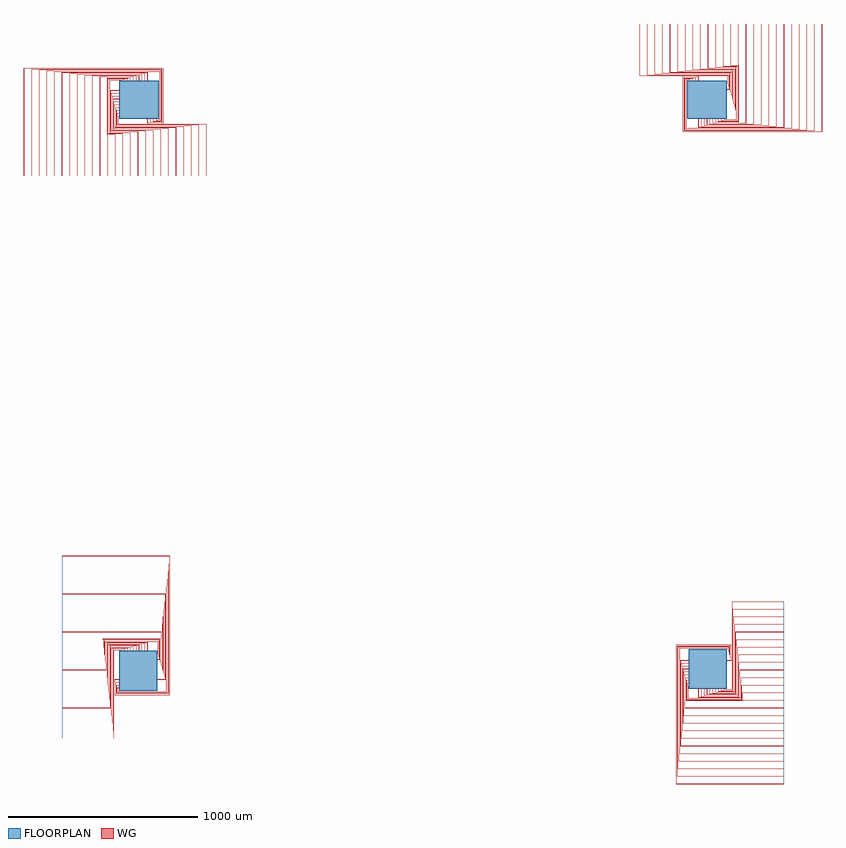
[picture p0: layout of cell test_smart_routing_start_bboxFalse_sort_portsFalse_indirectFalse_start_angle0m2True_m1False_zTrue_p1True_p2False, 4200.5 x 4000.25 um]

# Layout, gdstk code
import gdstk
lib = gdstk.Library(unit=1e-6, precision=1e-09)
def R(c, l, rs):  # rectangles x0, y0, x1, y1
    for r in rs: c.add(gdstk.rectangle(r[:2], r[2:], *l))
def P(c, l, *ps):  # polygons
    for p in ps: c.add(gdstk.Polygon(p, *l))
WG = (1, 0)
FLOORPLAN = (10, 0)

test_smart_routing_start = lib.new_cell('test_smart_routing_start_bboxFalse_sort_portsFalse_indirectFalse_start_angle0m2True_m1False_zTrue_p1True_p2False')
P(test_smart_routing_start, WG, [(2867.55,2832.8),(2867.55,3122.2),(2949.95,3122.2),(2949.95,3100),(2949.75,3100),(2949.75,3122),(2867.75,3122),(2867.75,2833),(3599.75,2833),(3599.75,3400),(3599.95,3400),(3599.95,2832.8)],
  [(2867.25,2832.5),(2867.25,3122.5),(2950.25,3122.5),(2950.25,3100),(2950.05,3100),(2950.05,3122.3),(2867.45,3122.3),(2867.45,2832.7),(3600.05,2832.7),(3600.05,3400),(3600.25,3400),(3600.25,2832.5)],
  [(2872.05,2837.3),(2872.05,3117.7),(2934.95,3117.7),(2934.95,3100),(2934.75,3100),(2934.75,3117.5),(2872.25,3117.5),(2872.25,2837.5),(3559.75,2837.5),(3559.75,3400),(3559.95,3400),(3559.95,2837.3)],
  [(2871.75,2837),(2871.75,3118),(2935.25,3118),(2935.25,3100),(2935.05,3100),(2935.05,3117.8),(2871.95,3117.8),(2871.95,2837.2),(3560.05,2837.2),(3560.05,3400),(3560.25,3400),(3560.25,2837)],
  [(2876.55,2841.8),(2876.55,3113.2),(2919.95,3113.2),(2919.95,3100),(2919.75,3100),(2919.75,3113),(2876.75,3113),(2876.75,2842),(3519.75,2842),(3519.75,3400),(3519.95,3400),(3519.95,2841.8)],
  [(2876.25,2841.5),(2876.25,3113.5),(2920.25,3113.5),(2920.25,3100),(2920.05,3100),(2920.05,3113.3),(2876.45,3113.3),(2876.45,2841.7),(3520.05,2841.7),(3520.05,3400),(3520.25,3400),(3520.25,2841.5)],
  [(2881.05,2846.3),(2881.05,3108.7),(2904.95,3108.7),(2904.95,3100),(2904.75,3100),(2904.75,3108.5),(2881.25,3108.5),(2881.25,2846.5),(3479.75,2846.5),(3479.75,3400),(3479.95,3400),(3479.95,2846.3)],
  [(2880.75,2846),(2880.75,3109),(2905.25,3109),(2905.25,3100),(2905.05,3100),(2905.05,3108.8),(2880.95,3108.8),(2880.95,2846.2),(3480.05,2846.2),(3480.05,3400),(3480.25,3400),(3480.25,2846)],
  [(2885.55,2850.8),(2885.55,3104.2),(2889.95,3104.2),(2889.95,3100),(2889.75,3100),(2889.75,3104),(2885.75,3104),(2885.75,2851),(3439.75,2851),(3439.75,3400),(3439.95,3400),(3439.95,2850.8)],
  [(2885.25,2850.5),(2885.25,3104.5),(2890.25,3104.5),(2890.25,3100),(2890.05,3100),(2890.05,3104.3),(2885.45,3104.3),(2885.45,2850.7),(3440.05,2850.7),(3440.05,3400),(3440.25,3400),(3440.25,2850.5)],
  [(2950.05,2855.3),(2950.05,2900),(2950.25,2900),(2950.25,2855.5),(3399.75,2855.5),(3399.75,3400),(3399.95,3400),(3399.95,2855.3)],
  [(2949.75,2855),(2949.75,2900),(2949.95,2900),(2949.95,2855.2),(3400.05,2855.2),(3400.05,3400),(3400.25,3400),(3400.25,2855)],
  [(2965.05,2859.8),(2965.05,2900),(2965.25,2900),(2965.25,2860),(3359.75,2860),(3359.75,3400),(3359.95,3400),(3359.95,2859.8)],
  [(2964.75,2859.5),(2964.75,2900),(2964.95,2900),(2964.95,2859.7),(3360.05,2859.7),(3360.05,3400),(3360.25,3400),(3360.25,2859.5)],
  [(2980.05,2864.3),(2980.05,2900),(2980.25,2900),(2980.25,2864.5),(3319.75,2864.5),(3319.75,3400),(3319.95,3400),(3319.95,2864.3)],
  [(2979.75,2864),(2979.75,2900),(2979.95,2900),(2979.95,2864.2),(3320.05,2864.2),(3320.05,3400),(3320.25,3400),(3320.25,2864)],
  [(2995.05,2868.8),(2995.05,2900),(2995.25,2900),(2995.25,2869),(3279.75,2869),(3279.75,3400),(3279.95,3400),(3279.95,2868.8)],
  [(2994.75,2868.5),(2994.75,2900),(2994.95,2900),(2994.95,2868.7),(3280.05,2868.7),(3280.05,3400),(3280.25,3400),(3280.25,2868.5)],
  [(3010.05,2873.3),(3010.05,2900),(3010.25,2900),(3010.25,2873.5),(3239.75,2873.5),(3239.75,3400),(3239.95,3400),(3239.95,2873.3)],
  [(3009.75,2873),(3009.75,2900),(3009.95,2900),(3009.95,2873.2),(3240.05,2873.2),(3240.05,3400),(3240.25,3400),(3240.25,2873)],
  [(3025.05,2877.8),(3025.05,2900),(3025.25,2900),(3025.25,2878),(3199.75,2878),(3199.75,3400),(3199.95,3400),(3199.95,2877.8)],
  [(3024.75,2877.5),(3024.75,2900),(3024.95,2900),(3024.95,2877.7),(3200.05,2877.7),(3200.05,3400),(3200.25,3400),(3200.25,2877.5)],
  [(3040.05,2882.3),(3040.05,2900),(3040.25,2900),(3040.25,2882.5),(3162.5,2882.5),(3162.5,3185),(3159.75,3185),(3159.75,3400),(3159.95,3400),(3159.95,3185.2),(3162.7,3185.2),(3162.7,2882.3)],
  [(3039.75,2882),(3039.75,2900),(3039.95,2900),(3039.95,2882.2),(3162.8,2882.2),(3162.8,3185.3),(3160.05,3185.3),(3160.05,3400),(3160.25,3400),(3160.25,3185.5),(3163,3185.5),(3163,2882)],
  [(3055.05,2886.8),(3055.05,2900),(3055.25,2900),(3055.25,2887),(3158,2887),(3158,3180.5),(3119.75,3180.5),(3119.75,3400),(3119.95,3400),(3119.95,3180.7),(3158.2,3180.7),(3158.2,2886.8)],
  [(3054.75,2886.5),(3054.75,2900),(3054.95,2900),(3054.95,2886.7),(3158.3,2886.7),(3158.3,3180.8),(3120.05,3180.8),(3120.05,3400),(3120.25,3400),(3120.25,3181),(3158.5,3181),(3158.5,2886.5)],
  [(3070.05,2891.3),(3070.05,2900),(3070.25,2900),(3070.25,2891.5),(3153.5,2891.5),(3153.5,3176),(3079.75,3176),(3079.75,3400),(3079.95,3400),(3079.95,3176.2),(3153.7,3176.2),(3153.7,2891.3)],
  [(3069.75,2891),(3069.75,2900),(3069.95,2900),(3069.95,2891.2),(3153.8,2891.2),(3153.8,3176.3),(3080.05,3176.3),(3080.05,3400),(3080.25,3400),(3080.25,3176.5),(3154,3176.5),(3154,2891)],
  [(3085.05,2895.8),(3085.05,2900),(3085.25,2900),(3085.25,2896),(3149,2896),(3149,3171.5),(3039.75,3171.5),(3039.75,3400),(3039.95,3400),(3039.95,3171.7),(3149.2,3171.7),(3149.2,2895.8)],
  [(3084.75,2895.5),(3084.75,2900),(3084.95,2900),(3084.95,2895.7),(3149.3,2895.7),(3149.3,3171.8),(3040.05,3171.8),(3040.05,3400),(3040.25,3400),(3040.25,3172),(3149.5,3172),(3149.5,2895.5)],
  [(3100,2950.05),(3100,2950.25),(3144.5,2950.25),(3144.5,3167),(2999.75,3167),(2999.75,3400),(2999.95,3400),(2999.95,3167.2),(3144.7,3167.2),(3144.7,2950.05)],
  [(3100,2949.75),(3100,2949.95),(3144.8,2949.95),(3144.8,3167.3),(3000.05,3167.3),(3000.05,3400),(3000.25,3400),(3000.25,3167.5),(3145,3167.5),(3145,2949.75)],
  [(3100,2965.05),(3100,2965.25),(3140,2965.25),(3140,3162.5),(2959.75,3162.5),(2959.75,3400),(2959.95,3400),(2959.95,3162.7),(3140.2,3162.7),(3140.2,2965.05)],
  [(3100,2964.75),(3100,2964.95),(3140.3,2964.95),(3140.3,3162.8),(2960.05,3162.8),(2960.05,3400),(2960.25,3400),(2960.25,3163),(3140.5,3163),(3140.5,2964.75)],
  [(3100,2980.05),(3100,2980.25),(3135.5,2980.25),(3135.5,3158),(2919.75,3158),(2919.75,3400),(2919.95,3400),(2919.95,3158.2),(3135.7,3158.2),(3135.7,2980.05)],
  [(3100,2979.75),(3100,2979.95),(3135.8,2979.95),(3135.8,3158.3),(2920.05,3158.3),(2920.05,3400),(2920.25,3400),(2920.25,3158.5),(3136,3158.5),(3136,2979.75)],
  [(3100,2995.05),(3100,2995.25),(3131,2995.25),(3131,3153.5),(2879.75,3153.5),(2879.75,3400),(2879.95,3400),(2879.95,3153.7),(3131.2,3153.7),(3131.2,2995.05)],
  [(3100,2994.75),(3100,2994.95),(3131.3,2994.95),(3131.3,3153.8),(2880.05,3153.8),(2880.05,3400),(2880.25,3400),(2880.25,3154),(3131.5,3154),(3131.5,2994.75)],
  [(3100,3010.05),(3100,3010.25),(3126.5,3010.25),(3126.5,3149),(2839.75,3149),(2839.75,3400),(2839.95,3400),(2839.95,3149.2),(3126.7,3149.2),(3126.7,3010.05)],
  [(3100,3009.75),(3100,3009.95),(3126.8,3009.95),(3126.8,3149.3),(2840.05,3149.3),(2840.05,3400),(2840.25,3400),(2840.25,3149.5),(3127,3149.5),(3127,3009.75)],
  [(3100,3025.05),(3100,3025.25),(3122,3025.25),(3122,3144.5),(2799.75,3144.5),(2799.75,3400),(2799.95,3400),(2799.95,3144.7),(3122.2,3144.7),(3122.2,3025.05)],
  [(3100,3024.75),(3100,3024.95),(3122.3,3024.95),(3122.3,3144.8),(2800.05,3144.8),(2800.05,3400),(2800.25,3400),(2800.25,3145),(3122.5,3145),(3122.5,3024.75)],
  [(3100,3040.05),(3100,3040.25),(3117.5,3040.25),(3117.5,3140),(2759.75,3140),(2759.75,3400),(2759.95,3400),(2759.95,3140.2),(3117.7,3140.2),(3117.7,3040.05)],
  [(3100,3039.75),(3100,3039.95),(3117.8,3039.95),(3117.8,3140.3),(2760.05,3140.3),(2760.05,3400),(2760.25,3400),(2760.25,3140.5),(3118,3140.5),(3118,3039.75)],
  [(3100,3055.05),(3100,3055.25),(3113,3055.25),(3113,3135.5),(2719.75,3135.5),(2719.75,3400),(2719.95,3400),(2719.95,3135.7),(3113.2,3135.7),(3113.2,3055.05)],
  [(3100,3054.75),(3100,3054.95),(3113.3,3054.95),(3113.3,3135.8),(2720.05,3135.8),(2720.05,3400),(2720.25,3400),(2720.25,3136),(3113.5,3136),(3113.5,3054.75)],
  [(3100,3070.05),(3100,3070.25),(3108.5,3070.25),(3108.5,3131),(2679.75,3131),(2679.75,3400),(2679.95,3400),(2679.95,3131.2),(3108.7,3131.2),(3108.7,3070.05)],
  [(3100,3069.75),(3100,3069.95),(3108.8,3069.95),(3108.8,3131.3),(2680.05,3131.3),(2680.05,3400),(2680.25,3400),(2680.25,3131.5),(3109,3131.5),(3109,3069.75)],
  [(3100,3085.05),(3100,3085.25),(3104,3085.25),(3104,3126.5),(2639.75,3126.5),(2639.75,3400),(2639.95,3400),(2639.95,3126.7),(3104.2,3126.7),(3104.2,3085.05)],
  [(3100,3084.75),(3100,3084.95),(3104.3,3084.95),(3104.3,3126.8),(2640.05,3126.8),(2640.05,3400),(2640.25,3400),(2640.25,3127),(3104.5,3127),(3104.5,3084.75)],
  [(-599.95,2600),(-599.95,3167.2),(132.45,3167.2),(132.45,2877.8),(50.05,2877.8),(50.05,2900),(50.25,2900),(50.25,2878),(132.25,2878),(132.25,3167),(-599.75,3167),(-599.75,2600)],
  [(-600.25,2600),(-600.25,3167.5),(132.75,3167.5),(132.75,2877.5),(49.75,2877.5),(49.75,2900),(49.95,2900),(49.95,2877.7),(132.55,2877.7),(132.55,3167.3),(-600.05,3167.3),(-600.05,2600)],
  [(-559.95,2600),(-559.95,3162.7),(127.95,3162.7),(127.95,2882.3),(65.05,2882.3),(65.05,2900),(65.25,2900),(65.25,2882.5),(127.75,2882.5),(127.75,3162.5),(-559.75,3162.5),(-559.75,2600)],
  [(-560.25,2600),(-560.25,3163),(128.25,3163),(128.25,2882),(64.75,2882),(64.75,2900),(64.95,2900),(64.95,2882.2),(128.05,2882.2),(128.05,3162.8),(-560.05,3162.8),(-560.05,2600)],
  [(-519.95,2600),(-519.95,3158.2),(123.45,3158.2),(123.45,2886.8),(80.05,2886.8),(80.05,2900),(80.25,2900),(80.25,2887),(123.25,2887),(123.25,3158),(-519.75,3158),(-519.75,2600)],
  [(-520.25,2600),(-520.25,3158.5),(123.75,3158.5),(123.75,2886.5),(79.75,2886.5),(79.75,2900),(79.95,2900),(79.95,2886.7),(123.55,2886.7),(123.55,3158.3),(-520.05,3158.3),(-520.05,2600)],
  [(-479.95,2600),(-479.95,3153.7),(118.95,3153.7),(118.95,2891.3),(95.05,2891.3),(95.05,2900),(95.25,2900),(95.25,2891.5),(118.75,2891.5),(118.75,3153.5),(-479.75,3153.5),(-479.75,2600)],
  [(-480.25,2600),(-480.25,3154),(119.25,3154),(119.25,2891),(94.75,2891),(94.75,2900),(94.95,2900),(94.95,2891.2),(119.05,2891.2),(119.05,3153.8),(-480.05,3153.8),(-480.05,2600)],
  [(-439.95,2600),(-439.95,3149.2),(114.45,3149.2),(114.45,2895.8),(110.05,2895.8),(110.05,2900),(110.25,2900),(110.25,2896),(114.25,2896),(114.25,3149),(-439.75,3149),(-439.75,2600)],
  [(-440.25,2600),(-440.25,3149.5),(114.75,3149.5),(114.75,2895.5),(109.75,2895.5),(109.75,2900),(109.95,2900),(109.95,2895.7),(114.55,2895.7),(114.55,3149.3),(-440.05,3149.3),(-440.05,2600)],
  [(-399.95,2600),(-399.95,3144.7),(49.95,3144.7),(49.95,3100),(49.75,3100),(49.75,3144.5),(-399.75,3144.5),(-399.75,2600)],
  [(-400.25,2600),(-400.25,3145),(50.25,3145),(50.25,3100),(50.05,3100),(50.05,3144.8),(-400.05,3144.8),(-400.05,2600)],
  [(-359.95,2600),(-359.95,3140.2),(34.95,3140.2),(34.95,3100),(34.75,3100),(34.75,3140),(-359.75,3140),(-359.75,2600)],
  [(-360.25,2600),(-360.25,3140.5),(35.25,3140.5),(35.25,3100),(35.05,3100),(35.05,3140.3),(-360.05,3140.3),(-360.05,2600)],
  [(-319.95,2600),(-319.95,3135.7),(19.95,3135.7),(19.95,3100),(19.75,3100),(19.75,3135.5),(-319.75,3135.5),(-319.75,2600)],
  [(-320.25,2600),(-320.25,3136),(20.25,3136),(20.25,3100),(20.05,3100),(20.05,3135.8),(-320.05,3135.8),(-320.05,2600)],
  [(-279.95,2600),(-279.95,3131.2),(4.95,3131.2),(4.95,3100),(4.75,3100),(4.75,3131),(-279.75,3131),(-279.75,2600)],
  [(-280.25,2600),(-280.25,3131.5),(5.25,3131.5),(5.25,3100),(5.05,3100),(5.05,3131.3),(-280.05,3131.3),(-280.05,2600)],
  [(-239.95,2600),(-239.95,3126.7),(-10.05,3126.7),(-10.05,3100),(-10.25,3100),(-10.25,3126.5),(-239.75,3126.5),(-239.75,2600)],
  [(-240.25,2600),(-240.25,3127),(-9.75,3127),(-9.75,3100),(-9.95,3100),(-9.95,3126.8),(-240.05,3126.8),(-240.05,2600)],
  [(-199.95,2600),(-199.95,3122.2),(-25.05,3122.2),(-25.05,3100),(-25.25,3100),(-25.25,3122),(-199.75,3122),(-199.75,2600)],
  [(-200.25,2600),(-200.25,3122.5),(-24.75,3122.5),(-24.75,3100),(-24.95,3100),(-24.95,3122.3),(-200.05,3122.3),(-200.05,2600)],
  [(-159.95,2600),(-159.95,2814.8),(-162.7,2814.8),(-162.7,3117.7),(-40.05,3117.7),(-40.05,3100),(-40.25,3100),(-40.25,3117.5),(-162.5,3117.5),(-162.5,2815),(-159.75,2815),(-159.75,2600)],
  [(-160.25,2600),(-160.25,2814.5),(-163,2814.5),(-163,3118),(-39.75,3118),(-39.75,3100),(-39.95,3100),(-39.95,3117.8),(-162.8,3117.8),(-162.8,2814.7),(-160.05,2814.7),(-160.05,2600)],
  [(-119.95,2600),(-119.95,2819.3),(-158.2,2819.3),(-158.2,3113.2),(-55.05,3113.2),(-55.05,3100),(-55.25,3100),(-55.25,3113),(-158,3113),(-158,2819.5),(-119.75,2819.5),(-119.75,2600)],
  [(-120.25,2600),(-120.25,2819),(-158.5,2819),(-158.5,3113.5),(-54.75,3113.5),(-54.75,3100),(-54.95,3100),(-54.95,3113.3),(-158.3,3113.3),(-158.3,2819.2),(-120.05,2819.2),(-120.05,2600)],
  [(-79.95,2600),(-79.95,2823.8),(-153.7,2823.8),(-153.7,3108.7),(-70.05,3108.7),(-70.05,3100),(-70.25,3100),(-70.25,3108.5),(-153.5,3108.5),(-153.5,2824),(-79.75,2824),(-79.75,2600)],
  [(-80.25,2600),(-80.25,2823.5),(-154,2823.5),(-154,3109),(-69.75,3109),(-69.75,3100),(-69.95,3100),(-69.95,3108.8),(-153.8,3108.8),(-153.8,2823.7),(-80.05,2823.7),(-80.05,2600)],
  [(-39.95,2600),(-39.95,2828.3),(-149.2,2828.3),(-149.2,3104.2),(-85.05,3104.2),(-85.05,3100),(-85.25,3100),(-85.25,3104),(-149,3104),(-149,2828.5),(-39.75,2828.5),(-39.75,2600)],
  [(-40.25,2600),(-40.25,2828),(-149.5,2828),(-149.5,3104.5),(-84.75,3104.5),(-84.75,3100),(-84.95,3100),(-84.95,3104.3),(-149.3,3104.3),(-149.3,2828.2),(-40.05,2828.2),(-40.05,2600)],
  [(0.05,2600),(0.05,2832.8),(-144.7,2832.8),(-144.7,3049.95),(-100,3049.95),(-100,3049.75),(-144.5,3049.75),(-144.5,2833),(0.25,2833),(0.25,2600)],
  [(-0.25,2600),(-0.25,2832.5),(-145,2832.5),(-145,3050.25),(-100,3050.25),(-100,3050.05),(-144.8,3050.05),(-144.8,2832.7),(-0.05,2832.7),(-0.05,2600)],
  [(40.05,2600),(40.05,2837.3),(-140.2,2837.3),(-140.2,3034.95),(-100,3034.95),(-100,3034.75),(-140,3034.75),(-140,2837.5),(40.25,2837.5),(40.25,2600)],
  [(39.75,2600),(39.75,2837),(-140.5,2837),(-140.5,3035.25),(-100,3035.25),(-100,3035.05),(-140.3,3035.05),(-140.3,2837.2),(39.95,2837.2),(39.95,2600)],
  [(80.05,2600),(80.05,2841.8),(-135.7,2841.8),(-135.7,3019.95),(-100,3019.95),(-100,3019.75),(-135.5,3019.75),(-135.5,2842),(80.25,2842),(80.25,2600)],
  [(79.75,2600),(79.75,2841.5),(-136,2841.5),(-136,3020.25),(-100,3020.25),(-100,3020.05),(-135.8,3020.05),(-135.8,2841.7),(79.95,2841.7),(79.95,2600)],
  [(120.05,2600),(120.05,2846.3),(-131.2,2846.3),(-131.2,3004.95),(-100,3004.95),(-100,3004.75),(-131,3004.75),(-131,2846.5),(120.25,2846.5),(120.25,2600)],
  [(119.75,2600),(119.75,2846),(-131.5,2846),(-131.5,3005.25),(-100,3005.25),(-100,3005.05),(-131.3,3005.05),(-131.3,2846.2),(119.95,2846.2),(119.95,2600)],
  [(160.05,2600),(160.05,2850.8),(-126.7,2850.8),(-126.7,2989.95),(-100,2989.95),(-100,2989.75),(-126.5,2989.75),(-126.5,2851),(160.25,2851),(160.25,2600)],
  [(159.75,2600),(159.75,2850.5),(-127,2850.5),(-127,2990.25),(-100,2990.25),(-100,2990.05),(-126.8,2990.05),(-126.8,2850.7),(159.95,2850.7),(159.95,2600)],
  [(200.05,2600),(200.05,2855.3),(-122.2,2855.3),(-122.2,2974.95),(-100,2974.95),(-100,2974.75),(-122,2974.75),(-122,2855.5),(200.25,2855.5),(200.25,2600)],
  [(199.75,2600),(199.75,2855),(-122.5,2855),(-122.5,2975.25),(-100,2975.25),(-100,2975.05),(-122.3,2975.05),(-122.3,2855.2),(199.95,2855.2),(199.95,2600)],
  [(240.05,2600),(240.05,2859.8),(-117.7,2859.8),(-117.7,2959.95),(-100,2959.95),(-100,2959.75),(-117.5,2959.75),(-117.5,2860),(240.25,2860),(240.25,2600)],
  [(239.75,2600),(239.75,2859.5),(-118,2859.5),(-118,2960.25),(-100,2960.25),(-100,2960.05),(-117.8,2960.05),(-117.8,2859.7),(239.95,2859.7),(239.95,2600)],
  [(280.05,2600),(280.05,2864.3),(-113.2,2864.3),(-113.2,2944.95),(-100,2944.95),(-100,2944.75),(-113,2944.75),(-113,2864.5),(280.25,2864.5),(280.25,2600)],
  [(279.75,2600),(279.75,2864),(-113.5,2864),(-113.5,2945.25),(-100,2945.25),(-100,2945.05),(-113.3,2945.05),(-113.3,2864.2),(279.95,2864.2),(279.95,2600)],
  [(320.05,2600),(320.05,2868.8),(-108.7,2868.8),(-108.7,2929.95),(-100,2929.95),(-100,2929.75),(-108.5,2929.75),(-108.5,2869),(320.25,2869),(320.25,2600)],
  [(319.75,2600),(319.75,2868.5),(-109,2868.5),(-109,2930.25),(-100,2930.25),(-100,2930.05),(-108.8,2930.05),(-108.8,2868.7),(319.95,2868.7),(319.95,2600)],
  [(360.05,2600),(360.05,2873.3),(-104.2,2873.3),(-104.2,2914.95),(-100,2914.95),(-100,2914.75),(-104,2914.75),(-104,2873.5),(360.25,2873.5),(360.25,2600)],
  [(359.75,2600),(359.75,2873),(-104.5,2873),(-104.5,2915.25),(-100,2915.25),(-100,2915.05),(-104.3,2915.05),(-104.3,2873.2),(359.95,2873.2),(359.95,2600)],
  [(-122.2,-132.45),(-122.2,-50.05),(-100,-50.05),(-100,-50.25),(-122,-50.25),(-122,-132.25),(167,-132.25),(167,599.75),(-400,599.75),(-400,599.95),(167.2,599.95),(167.2,-132.45)],
  [(-122.5,-132.75),(-122.5,-49.75),(-100,-49.75),(-100,-49.95),(-122.3,-49.95),(-122.3,-132.55),(167.3,-132.55),(167.3,600.05),(-400,600.05),(-400,600.25),(167.5,600.25),(167.5,-132.75)],
  [(-117.7,-127.95),(-117.7,-65.05),(-100,-65.05),(-100,-65.25),(-117.5,-65.25),(-117.5,-127.75),(162.5,-127.75),(162.5,559.75),(-400,559.75),(-400,559.95),(162.7,559.95),(162.7,-127.95)],
  [(-118,-128.25),(-118,-64.75),(-100,-64.75),(-100,-64.95),(-117.8,-64.95),(-117.8,-128.05),(162.8,-128.05),(162.8,560.05),(-400,560.05),(-400,560.25),(163,560.25),(163,-128.25)],
  [(-113.2,-123.45),(-113.2,-80.05),(-100,-80.05),(-100,-80.25),(-113,-80.25),(-113,-123.25),(158,-123.25),(158,519.75),(-400,519.75),(-400,519.95),(158.2,519.95),(158.2,-123.45)],
  [(-113.5,-123.75),(-113.5,-79.75),(-100,-79.75),(-100,-79.95),(-113.3,-79.95),(-113.3,-123.55),(158.3,-123.55),(158.3,520.05),(-400,520.05),(-400,520.25),(158.5,520.25),(158.5,-123.75)],
  [(-108.7,-118.95),(-108.7,-95.05),(-100,-95.05),(-100,-95.25),(-108.5,-95.25),(-108.5,-118.75),(153.5,-118.75),(153.5,479.75),(-400,479.75),(-400,479.95),(153.7,479.95),(153.7,-118.95)],
  [(-109,-119.25),(-109,-94.75),(-100,-94.75),(-100,-94.95),(-108.8,-94.95),(-108.8,-119.05),(153.8,-119.05),(153.8,480.05),(-400,480.05),(-400,480.25),(154,480.25),(154,-119.25)],
  [(-104.2,-114.45),(-104.2,-110.05),(-100,-110.05),(-100,-110.25),(-104,-110.25),(-104,-114.25),(149,-114.25),(149,439.75),(-400,439.75),(-400,439.95),(149.2,439.95),(149.2,-114.45)],
  [(-104.5,-114.75),(-104.5,-109.75),(-100,-109.75),(-100,-109.95),(-104.3,-109.95),(-104.3,-114.55),(149.3,-114.55),(149.3,440.05),(-400,440.05),(-400,440.25),(149.5,440.25),(149.5,-114.75)],
  [(100,-49.95),(100,-49.75),(144.5,-49.75),(144.5,399.75),(-400,399.75),(-400,399.95),(144.7,399.95),(144.7,-49.95)],
  [(100,-50.25),(100,-50.05),(144.8,-50.05),(144.8,400.05),(-400,400.05),(-400,400.25),(145,400.25),(145,-50.25)],
  [(100,-34.95),(100,-34.75),(140,-34.75),(140,359.75),(-400,359.75),(-400,359.95),(140.2,359.95),(140.2,-34.95)],
  [(100,-35.25),(100,-35.05),(140.3,-35.05),(140.3,360.05),(-400,360.05),(-400,360.25),(140.5,360.25),(140.5,-35.25)],
  [(100,-19.95),(100,-19.75),(135.5,-19.75),(135.5,319.75),(-400,319.75),(-400,319.95),(135.7,319.95),(135.7,-19.95)],
  [(100,-20.25),(100,-20.05),(135.8,-20.05),(135.8,320.05),(-400,320.05),(-400,320.25),(136,320.25),(136,-20.25)],
  [(100,-4.95),(100,-4.75),(131,-4.75),(131,279.75),(-400,279.75),(-400,279.95),(131.2,279.95),(131.2,-4.95)],
  [(100,-5.25),(100,-5.05),(131.3,-5.05),(131.3,280.05),(-400,280.05),(-400,280.25),(131.5,280.25),(131.5,-5.25)],
  [(100,10.05),(100,10.25),(126.5,10.25),(126.5,239.75),(-400,239.75),(-400,239.95),(126.7,239.95),(126.7,10.05)],
  [(100,9.75),(100,9.95),(126.8,9.95),(126.8,240.05),(-400,240.05),(-400,240.25),(127,240.25),(127,9.75)],
  [(100,25.05),(100,25.25),(122,25.25),(122,199.75),(-400,199.75),(-400,199.95),(122.2,199.95),(122.2,25.05)],
  [(100,24.75),(100,24.95),(122.3,24.95),(122.3,200.05),(-400,200.05),(-400,200.25),(122.5,200.25),(122.5,24.75)],
  [(100,40.05),(100,40.25),(117.5,40.25),(117.5,162.5),(-185,162.5),(-185,159.75),(-400,159.75),(-400,159.95),(-185.2,159.95),(-185.2,162.7),(117.7,162.7),(117.7,40.05)],
  [(100,39.75),(100,39.95),(117.8,39.95),(117.8,162.8),(-185.3,162.8),(-185.3,160.05),(-400,160.05),(-400,160.25),(-185.5,160.25),(-185.5,163),(118,163),(118,39.75)],
  [(100,55.05),(100,55.25),(113,55.25),(113,158),(-180.5,158),(-180.5,119.75),(-400,119.75),(-400,119.95),(-180.7,119.95),(-180.7,158.2),(113.2,158.2),(113.2,55.05)],
  [(100,54.75),(100,54.95),(113.3,54.95),(113.3,158.3),(-180.8,158.3),(-180.8,120.05),(-400,120.05),(-400,120.25),(-181,120.25),(-181,158.5),(113.5,158.5),(113.5,54.75)],
  [(100,70.05),(100,70.25),(108.5,70.25),(108.5,153.5),(-176,153.5),(-176,79.75),(-400,79.75),(-400,79.95),(-176.2,79.95),(-176.2,153.7),(108.7,153.7),(108.7,70.05)],
  [(100,69.75),(100,69.95),(108.8,69.95),(108.8,153.8),(-176.3,153.8),(-176.3,80.05),(-400,80.05),(-400,80.25),(-176.5,80.25),(-176.5,154),(109,154),(109,69.75)],
  [(-400,39.75),(-400,39.95),(-171.7,39.95),(-171.7,149.2),(104.2,149.2),(104.2,85.05),(100,85.05),(100,85.25),(104,85.25),(104,149),(-171.5,149),(-171.5,39.75)],
  [(-400,40.05),(-400,40.25),(-172,40.25),(-172,149.5),(104.5,149.5),(104.5,84.75),(100,84.75),(100,84.95),(104.3,84.95),(104.3,149.3),(-171.8,149.3),(-171.8,40.05)],
  [(-400,-0.25),(-400,-0.05),(-167.2,-0.05),(-167.2,144.7),(49.95,144.7),(49.95,100),(49.75,100),(49.75,144.5),(-167,144.5),(-167,-0.25)],
  [(-400,0.05),(-400,0.25),(-167.5,0.25),(-167.5,145),(50.25,145),(50.25,100),(50.05,100),(50.05,144.8),(-167.3,144.8),(-167.3,0.05)],
  [(-400,-40.25),(-400,-40.05),(-162.7,-40.05),(-162.7,140.2),(34.95,140.2),(34.95,100),(34.75,100),(34.75,140),(-162.5,140),(-162.5,-40.25)],
  [(-400,-39.95),(-400,-39.75),(-163,-39.75),(-163,140.5),(35.25,140.5),(35.25,100),(35.05,100),(35.05,140.3),(-162.8,140.3),(-162.8,-39.95)],
  [(-400,-80.25),(-400,-80.05),(-158.2,-80.05),(-158.2,135.7),(19.95,135.7),(19.95,100),(19.75,100),(19.75,135.5),(-158,135.5),(-158,-80.25)],
  [(-400,-79.95),(-400,-79.75),(-158.5,-79.75),(-158.5,136),(20.25,136),(20.25,100),(20.05,100),(20.05,135.8),(-158.3,135.8),(-158.3,-79.95)],
  [(-400,-120.25),(-400,-120.05),(-153.7,-120.05),(-153.7,131.2),(4.95,131.2),(4.95,100),(4.75,100),(4.75,131),(-153.5,131),(-153.5,-120.25)],
  [(-400,-119.95),(-400,-119.75),(-154,-119.75),(-154,131.5),(5.25,131.5),(5.25,100),(5.05,100),(5.05,131.3),(-153.8,131.3),(-153.8,-119.95)],
  [(-400,-160.25),(-400,-160.05),(-149.2,-160.05),(-149.2,126.7),(-10.05,126.7),(-10.05,100),(-10.25,100),(-10.25,126.5),(-149,126.5),(-149,-160.25)],
  [(-400,-159.95),(-400,-159.75),(-149.5,-159.75),(-149.5,127),(-9.75,127),(-9.75,100),(-9.95,100),(-9.95,126.8),(-149.3,126.8),(-149.3,-159.95)],
  [(-400,-200.25),(-400,-200.05),(-144.7,-200.05),(-144.7,122.2),(-25.05,122.2),(-25.05,100),(-25.25,100),(-25.25,122),(-144.5,122),(-144.5,-200.25)],
  [(-400,-199.95),(-400,-199.75),(-145,-199.75),(-145,122.5),(-24.75,122.5),(-24.75,100),(-24.95,100),(-24.95,122.3),(-144.8,122.3),(-144.8,-199.95)],
  [(-400,-240.25),(-400,-240.05),(-140.2,-240.05),(-140.2,117.7),(-40.05,117.7),(-40.05,100),(-40.25,100),(-40.25,117.5),(-140,117.5),(-140,-240.25)],
  [(-400,-239.95),(-400,-239.75),(-140.5,-239.75),(-140.5,118),(-39.75,118),(-39.75,100),(-39.95,100),(-39.95,117.8),(-140.3,117.8),(-140.3,-239.95)],
  [(-400,-280.25),(-400,-280.05),(-135.7,-280.05),(-135.7,113.2),(-55.05,113.2),(-55.05,100),(-55.25,100),(-55.25,113),(-135.5,113),(-135.5,-280.25)],
  [(-400,-279.95),(-400,-279.75),(-136,-279.75),(-136,113.5),(-54.75,113.5),(-54.75,100),(-54.95,100),(-54.95,113.3),(-135.8,113.3),(-135.8,-279.95)],
  [(-400,-320.25),(-400,-320.05),(-131.2,-320.05),(-131.2,108.7),(-70.05,108.7),(-70.05,100),(-70.25,100),(-70.25,108.5),(-131,108.5),(-131,-320.25)],
  [(-400,-319.95),(-400,-319.75),(-131.5,-319.75),(-131.5,109),(-69.75,109),(-69.75,100),(-69.95,100),(-69.95,108.8),(-131.3,108.8),(-131.3,-319.95)],
  [(-400,-360.25),(-400,-360.05),(-126.7,-360.05),(-126.7,104.2),(-85.05,104.2),(-85.05,100),(-85.25,100),(-85.25,104),(-126.5,104),(-126.5,-360.25)],
  [(-400,-359.95),(-400,-359.75),(-127,-359.75),(-127,104.5),(-84.75,104.5),(-84.75,100),(-84.95,100),(-84.95,104.3),(-126.8,104.3),(-126.8,-359.95)],
  [(2832.8,-599.95),(2832.8,132.45),(3122.2,132.45),(3122.2,50.05),(3100,50.05),(3100,50.25),(3122,50.25),(3122,132.25),(2833,132.25),(2833,-599.75),(3400,-599.75),(3400,-599.95)],
  [(2832.5,-600.25),(2832.5,132.75),(3122.5,132.75),(3122.5,49.75),(3100,49.75),(3100,49.95),(3122.3,49.95),(3122.3,132.55),(2832.7,132.55),(2832.7,-600.05),(3400,-600.05),(3400,-600.25)],
  [(2837.3,-559.95),(2837.3,127.95),(3117.7,127.95),(3117.7,65.05),(3100,65.05),(3100,65.25),(3117.5,65.25),(3117.5,127.75),(2837.5,127.75),(2837.5,-559.75),(3400,-559.75),(3400,-559.95)],
  [(2837,-560.25),(2837,128.25),(3118,128.25),(3118,64.75),(3100,64.75),(3100,64.95),(3117.8,64.95),(3117.8,128.05),(2837.2,128.05),(2837.2,-560.05),(3400,-560.05),(3400,-560.25)],
  [(2841.8,-519.95),(2841.8,123.45),(3113.2,123.45),(3113.2,80.05),(3100,80.05),(3100,80.25),(3113,80.25),(3113,123.25),(2842,123.25),(2842,-519.75),(3400,-519.75),(3400,-519.95)],
  [(2841.5,-520.25),(2841.5,123.75),(3113.5,123.75),(3113.5,79.75),(3100,79.75),(3100,79.95),(3113.3,79.95),(3113.3,123.55),(2841.7,123.55),(2841.7,-520.05),(3400,-520.05),(3400,-520.25)],
  [(2846.3,-479.95),(2846.3,118.95),(3108.7,118.95),(3108.7,95.05),(3100,95.05),(3100,95.25),(3108.5,95.25),(3108.5,118.75),(2846.5,118.75),(2846.5,-479.75),(3400,-479.75),(3400,-479.95)],
  [(2846,-480.25),(2846,119.25),(3109,119.25),(3109,94.75),(3100,94.75),(3100,94.95),(3108.8,94.95),(3108.8,119.05),(2846.2,119.05),(2846.2,-480.05),(3400,-480.05),(3400,-480.25)],
  [(2850.8,-439.95),(2850.8,114.45),(3104.2,114.45),(3104.2,110.05),(3100,110.05),(3100,110.25),(3104,110.25),(3104,114.25),(2851,114.25),(2851,-439.75),(3400,-439.75),(3400,-439.95)],
  [(2850.5,-440.25),(2850.5,114.75),(3104.5,114.75),(3104.5,109.75),(3100,109.75),(3100,109.95),(3104.3,109.95),(3104.3,114.55),(2850.7,114.55),(2850.7,-440.05),(3400,-440.05),(3400,-440.25)],
  [(2855.3,-399.95),(2855.3,49.95),(2900,49.95),(2900,49.75),(2855.5,49.75),(2855.5,-399.75),(3400,-399.75),(3400,-399.95)],
  [(2855,-400.25),(2855,50.25),(2900,50.25),(2900,50.05),(2855.2,50.05),(2855.2,-400.05),(3400,-400.05),(3400,-400.25)],
  [(2859.8,-359.95),(2859.8,34.95),(2900,34.95),(2900,34.75),(2860,34.75),(2860,-359.75),(3400,-359.75),(3400,-359.95)],
  [(2859.5,-360.25),(2859.5,35.25),(2900,35.25),(2900,35.05),(2859.7,35.05),(2859.7,-360.05),(3400,-360.05),(3400,-360.25)],
  [(2864.3,-319.95),(2864.3,19.95),(2900,19.95),(2900,19.75),(2864.5,19.75),(2864.5,-319.75),(3400,-319.75),(3400,-319.95)],
  [(2864,-320.25),(2864,20.25),(2900,20.25),(2900,20.05),(2864.2,20.05),(2864.2,-320.05),(3400,-320.05),(3400,-320.25)],
  [(2868.8,-279.95),(2868.8,4.95),(2900,4.95),(2900,4.75),(2869,4.75),(2869,-279.75),(3400,-279.75),(3400,-279.95)],
  [(2868.5,-280.25),(2868.5,5.25),(2900,5.25),(2900,5.05),(2868.7,5.05),(2868.7,-280.05),(3400,-280.05),(3400,-280.25)],
  [(2873.3,-239.95),(2873.3,-10.05),(2900,-10.05),(2900,-10.25),(2873.5,-10.25),(2873.5,-239.75),(3400,-239.75),(3400,-239.95)],
  [(2873,-240.25),(2873,-9.75),(2900,-9.75),(2900,-9.95),(2873.2,-9.95),(2873.2,-240.05),(3400,-240.05),(3400,-240.25)],
  [(2877.8,-199.95),(2877.8,-25.05),(2900,-25.05),(2900,-25.25),(2878,-25.25),(2878,-199.75),(3400,-199.75),(3400,-199.95)],
  [(2877.5,-200.25),(2877.5,-24.75),(2900,-24.75),(2900,-24.95),(2877.7,-24.95),(2877.7,-200.05),(3400,-200.05),(3400,-200.25)],
  [(2882.3,-162.7),(2882.3,-40.05),(2900,-40.05),(2900,-40.25),(2882.5,-40.25),(2882.5,-162.5),(3185,-162.5),(3185,-159.75),(3400,-159.75),(3400,-159.95),(3185.2,-159.95),(3185.2,-162.7)],
  [(2882,-163),(2882,-39.75),(2900,-39.75),(2900,-39.95),(2882.2,-39.95),(2882.2,-162.8),(3185.3,-162.8),(3185.3,-160.05),(3400,-160.05),(3400,-160.25),(3185.5,-160.25),(3185.5,-163)],
  [(2886.8,-158.2),(2886.8,-55.05),(2900,-55.05),(2900,-55.25),(2887,-55.25),(2887,-158),(3180.5,-158),(3180.5,-119.75),(3400,-119.75),(3400,-119.95),(3180.7,-119.95),(3180.7,-158.2)],
  [(2886.5,-158.5),(2886.5,-54.75),(2900,-54.75),(2900,-54.95),(2886.7,-54.95),(2886.7,-158.3),(3180.8,-158.3),(3180.8,-120.05),(3400,-120.05),(3400,-120.25),(3181,-120.25),(3181,-158.5)],
  [(2891.3,-153.7),(2891.3,-70.05),(2900,-70.05),(2900,-70.25),(2891.5,-70.25),(2891.5,-153.5),(3176,-153.5),(3176,-79.75),(3400,-79.75),(3400,-79.95),(3176.2,-79.95),(3176.2,-153.7)],
  [(2891,-154),(2891,-69.75),(2900,-69.75),(2900,-69.95),(2891.2,-69.95),(2891.2,-153.8),(3176.3,-153.8),(3176.3,-80.05),(3400,-80.05),(3400,-80.25),(3176.5,-80.25),(3176.5,-154)],
  [(2895.5,-149.5),(2895.5,-84.75),(2900,-84.75),(2900,-84.95),(2895.7,-84.95),(2895.7,-149.3),(3171.8,-149.3),(3171.8,-40.05),(3400,-40.05),(3400,-40.25),(3172,-40.25),(3172,-149.5)],
  [(2895.8,-149.2),(2895.8,-85.05),(2900,-85.05),(2900,-85.25),(2896,-85.25),(2896,-149),(3171.5,-149),(3171.5,-39.75),(3400,-39.75),(3400,-39.95),(3171.7,-39.95),(3171.7,-149.2)],
  [(2949.75,-145),(2949.75,-100),(2949.95,-100),(2949.95,-144.8),(3167.3,-144.8),(3167.3,-0.05),(3400,-0.05),(3400,-0.25),(3167.5,-0.25),(3167.5,-145)],
  [(2950.05,-144.7),(2950.05,-100),(2950.25,-100),(2950.25,-144.5),(3167,-144.5),(3167,0.25),(3400,0.25),(3400,0.05),(3167.2,0.05),(3167.2,-144.7)],
  [(2964.75,-140.5),(2964.75,-100),(2964.95,-100),(2964.95,-140.3),(3162.8,-140.3),(3162.8,39.95),(3400,39.95),(3400,39.75),(3163,39.75),(3163,-140.5)],
  [(2965.05,-140.2),(2965.05,-100),(2965.25,-100),(2965.25,-140),(3162.5,-140),(3162.5,40.25),(3400,40.25),(3400,40.05),(3162.7,40.05),(3162.7,-140.2)],
  [(2979.75,-136),(2979.75,-100),(2979.95,-100),(2979.95,-135.8),(3158.3,-135.8),(3158.3,79.95),(3400,79.95),(3400,79.75),(3158.5,79.75),(3158.5,-136)],
  [(2980.05,-135.7),(2980.05,-100),(2980.25,-100),(2980.25,-135.5),(3158,-135.5),(3158,80.25),(3400,80.25),(3400,80.05),(3158.2,80.05),(3158.2,-135.7)],
  [(2994.75,-131.5),(2994.75,-100),(2994.95,-100),(2994.95,-131.3),(3153.8,-131.3),(3153.8,119.95),(3400,119.95),(3400,119.75),(3154,119.75),(3154,-131.5)],
  [(2995.05,-131.2),(2995.05,-100),(2995.25,-100),(2995.25,-131),(3153.5,-131),(3153.5,120.25),(3400,120.25),(3400,120.05),(3153.7,120.05),(3153.7,-131.2)],
  [(3009.75,-127),(3009.75,-100),(3009.95,-100),(3009.95,-126.8),(3149.3,-126.8),(3149.3,159.95),(3400,159.95),(3400,159.75),(3149.5,159.75),(3149.5,-127)],
  [(3010.05,-126.7),(3010.05,-100),(3010.25,-100),(3010.25,-126.5),(3149,-126.5),(3149,160.25),(3400,160.25),(3400,160.05),(3149.2,160.05),(3149.2,-126.7)],
  [(3024.75,-122.5),(3024.75,-100),(3024.95,-100),(3024.95,-122.3),(3144.8,-122.3),(3144.8,199.95),(3400,199.95),(3400,199.75),(3145,199.75),(3145,-122.5)],
  [(3025.05,-122.2),(3025.05,-100),(3025.25,-100),(3025.25,-122),(3144.5,-122),(3144.5,200.25),(3400,200.25),(3400,200.05),(3144.7,200.05),(3144.7,-122.2)],
  [(3039.75,-118),(3039.75,-100),(3039.95,-100),(3039.95,-117.8),(3140.3,-117.8),(3140.3,239.95),(3400,239.95),(3400,239.75),(3140.5,239.75),(3140.5,-118)],
  [(3040.05,-117.7),(3040.05,-100),(3040.25,-100),(3040.25,-117.5),(3140,-117.5),(3140,240.25),(3400,240.25),(3400,240.05),(3140.2,240.05),(3140.2,-117.7)],
  [(3054.75,-113.5),(3054.75,-100),(3054.95,-100),(3054.95,-113.3),(3135.8,-113.3),(3135.8,279.95),(3400,279.95),(3400,279.75),(3136,279.75),(3136,-113.5)],
  [(3055.05,-113.2),(3055.05,-100),(3055.25,-100),(3055.25,-113),(3135.5,-113),(3135.5,280.25),(3400,280.25),(3400,280.05),(3135.7,280.05),(3135.7,-113.2)],
  [(3069.75,-109),(3069.75,-100),(3069.95,-100),(3069.95,-108.8),(3131.3,-108.8),(3131.3,319.95),(3400,319.95),(3400,319.75),(3131.5,319.75),(3131.5,-109)],
  [(3070.05,-108.7),(3070.05,-100),(3070.25,-100),(3070.25,-108.5),(3131,-108.5),(3131,320.25),(3400,320.25),(3400,320.05),(3131.2,320.05),(3131.2,-108.7)],
  [(3084.75,-104.5),(3084.75,-100),(3084.95,-100),(3084.95,-104.3),(3126.8,-104.3),(3126.8,359.95),(3400,359.95),(3400,359.75),(3127,359.75),(3127,-104.5)],
  [(3085.05,-104.2),(3085.05,-100),(3085.25,-100),(3085.25,-104),(3126.5,-104),(3126.5,360.25),(3400,360.25),(3400,360.05),(3126.7,360.05),(3126.7,-104.2)])
R(test_smart_routing_start, FLOORPLAN, [(-100,-110,100,100), (2900,-100,3100,110), (-100,2900,110,3100), (2890,2900,3100,3100)])
P(test_smart_routing_start, FLOORPLAN, [(-400,-360),(-400,600),(-400,600),(-400,-360)],
  [(-600,2600),(-600,2600),(360,2600),(360,2600)],
  [(3400,-600),(3400,360),(3400,360),(3400,-600)],
  [(2640,3400),(2640,3400),(3600,3400),(3600,3400)])

lib.write_gds('test_smart_routing_start_bboxFalse_sort_portsFalse_indirectFalse_start_angle0m2True_m1False_zTrue_p1True_p2False.gds')
